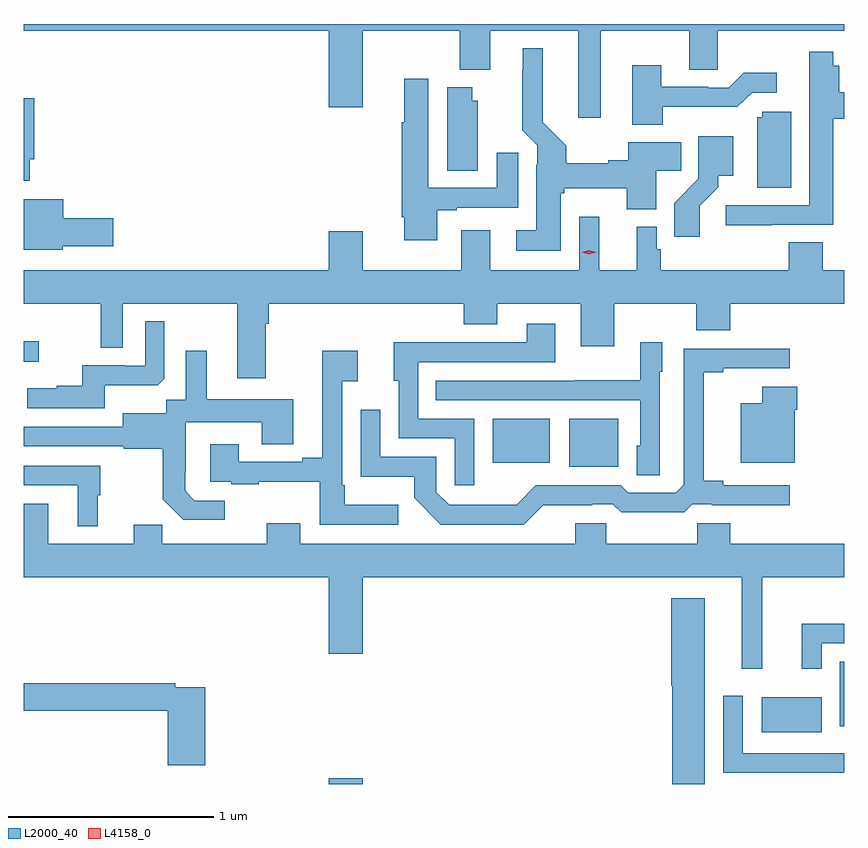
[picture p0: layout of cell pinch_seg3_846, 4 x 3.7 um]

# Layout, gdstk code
import gdstk
lib = gdstk.Library(unit=1e-6, precision=1e-09)
def R(c, l, rs):  # rectangles x0, y0, x1, y1
    for r in rs: c.add(gdstk.rectangle(r[:2], r[2:], *l))
def P(c, l, *ps):  # polygons
    for p in ps: c.add(gdstk.Polygon(p, *l))
L2000_40 = (2000, 40)
L4158_0 = (4158, 0)

pinch_seg3_846 = lib.new_cell('pinch_seg3_846')
R(pinch_seg3_846, L2000_40, [(728.444,745.196,728.608,745.225), (730.553,745.448,730.846,745.618), (730.934,745.478,730.956,745.792), (729.614,746.741,729.853,746.977), (729.242,746.762,729.52,746.977), (726.956,747.254,727.03,747.353)])
P(pinch_seg3_846, L2000_40, [(726.956,748.868),(728.444,748.868),(728.444,748.494),(728.608,748.494),(728.608,748.868),(729.082,748.868),(729.082,748.676),(729.229,748.676),(729.229,748.868),(729.659,748.868),(729.659,748.443),(729.769,748.443),(729.769,748.868),(730.199,748.868),(730.199,748.678),(730.338,748.678),(730.338,748.868),(730.956,748.868),(730.956,748.9),(726.956,748.9)],
  [(729.574,748.074),(729.592,748.074),(729.592,748.1),(729.895,748.1),(729.895,747.998),(730.039,747.998),(730.039,748.186),(730.16,748.186),(730.16,748.324),(729.902,748.324),(729.902,748.235),(729.806,748.235),(729.806,748.222),(729.6,748.222),(729.6,748.307),(729.487,748.42),(729.487,748.783),(729.389,748.783),(729.389,748.673),(729.385,748.673),(729.385,748.382),(729.459,748.308),(729.459,748.214),(729.455,748.214),(729.455,747.895),(729.357,747.895),(729.357,747.794),(729.574,747.794)],
  [(730.601,747.921),(730.901,747.921),(730.901,748.438),(730.956,748.438),(730.956,748.567),(730.931,748.567),(730.931,748.696),(730.901,748.696),(730.901,748.765),(730.785,748.765),(730.785,748.017),(730.377,748.017),(730.377,747.919),(730.601,747.919)],
  [(730.071,748.496),(730.435,748.496),(730.506,748.566),(730.627,748.566),(730.627,748.663),(730.465,748.663),(730.392,748.59),(730.292,748.59),(730.292,748.593),(730.063,748.593),(730.063,748.699),(729.923,748.699),(729.923,748.409),(730.071,748.409)],
  [(728.971,747.993),(729.067,747.993),(729.067,748.005),(729.367,748.005),(729.367,748.273),(729.263,748.273),(729.263,748.101),(728.929,748.101),(728.929,748.633),(728.81,748.633),(728.81,748.42),(728.798,748.42),(728.798,747.958),(728.81,747.958),(728.81,747.846),(728.971,747.846)],
  [(729.169,748.527),(729.142,748.527),(729.142,748.591),(729.02,748.591),(729.02,748.186),(729.169,748.186)],
  [(726.987,748.24),(727.007,748.24),(727.007,748.537),(726.956,748.537),(726.956,748.136),(726.987,748.136)],
  [(730.696,748.473),(730.557,748.473),(730.557,748.446),(730.532,748.446),(730.532,748.102),(730.696,748.102)],
  [(730.252,748.015),(730.342,748.105),(730.342,748.16),(730.414,748.16),(730.414,748.354),(730.245,748.354),(730.245,748.145),(730.126,748.026),(730.126,747.864),(730.252,747.864)],
  [(727.146,747.818),(727.393,747.818),(727.393,747.953),(727.15,747.953),(727.15,748.045),(726.956,748.045),(726.956,747.8),(727.146,747.8)],
  [(728.137,747.44),(728.15,747.44),(728.15,747.536),(729.101,747.536),(729.101,747.437),(729.265,747.437),(729.265,747.536),(729.671,747.536),(729.671,747.33),(729.835,747.33),(729.835,747.536),(730.235,747.536),(730.235,747.408),(730.399,747.408),(730.399,747.536),(730.956,747.536),(730.956,747.7),(730.85,747.7),(730.85,747.836),(730.685,747.836),(730.685,747.7),(730.061,747.7),(730.061,747.801),(730.041,747.801),(730.041,747.913),(729.944,747.913),(729.944,747.7),(729.761,747.7),(729.761,747.961),(729.663,747.961),(729.663,747.7),(729.229,747.7),(729.229,747.895),(729.089,747.895),(729.089,747.7),(728.608,747.7),(728.608,747.889),(728.444,747.889),(728.444,747.7),(726.956,747.7),(726.956,747.536),(727.332,747.536),(727.332,747.322),(727.44,747.322),(727.44,747.536),(727.997,747.536),(727.997,747.174),(728.137,747.174)],
  [(727.351,747.14),(727.609,747.14),(727.641,747.171),(727.641,747.451),(727.548,747.451),(727.548,747.234),(727.448,747.234),(727.448,747.237),(727.241,747.237),(727.241,747.136),(727.117,747.136),(727.117,747.124),(726.973,747.124),(726.973,747.027),(727.351,747.027)],
  [(729.153,746.976),(728.88,746.976),(728.88,747.252),(729.547,747.252),(729.547,747.439),(729.407,747.439),(729.407,747.348),(728.977,747.348),(728.977,747.35),(728.759,747.35),(728.759,747.162),(728.784,747.162),(728.784,746.88),(729.057,746.88),(729.057,746.652),(729.153,746.652)],
  [(730.056,747.204),(730.069,747.204),(730.069,747.349),(729.96,747.349),(729.96,747.163),(729.643,747.163),(729.643,747.162),(728.965,747.162),(728.965,747.066),(729.96,747.066),(729.96,746.844),(729.944,746.844),(729.944,746.701),(730.056,746.701)],
  [(729.488,746.555),(729.728,746.555),(729.728,746.559),(729.828,746.559),(729.868,746.52),(730.175,746.52),(730.215,746.559),(730.309,746.559),(730.309,746.555),(730.69,746.555),(730.69,746.652),(730.366,746.652),(730.366,746.675),(730.271,746.675),(730.271,747.202),(730.366,747.202),(730.366,747.222),(730.69,747.222),(730.69,747.318),(730.173,747.318),(730.173,746.655),(730.134,746.616),(729.903,746.616),(729.867,746.652),(729.453,746.652),(729.359,746.558),(729.254,746.558),(729.254,746.556),(729.03,746.556),(728.967,746.619),(728.967,746.79),(728.694,746.79),(728.694,747.019),(728.598,747.019),(728.598,746.693),(728.86,746.693),(728.86,746.591),(728.99,746.46),(729.393,746.46)],
  [(727.936,746.577),(727.791,746.577),(727.744,746.624),(727.744,746.719),(727.746,746.719),(727.746,746.96),(728.117,746.96),(728.117,746.851),(728.269,746.851),(728.269,747.07),(727.849,747.07),(727.849,747.307),(727.745,747.307),(727.745,747.068),(727.65,747.068),(727.65,747.004),(727.439,747.004),(727.439,746.937),(726.956,746.937),(726.956,746.841),(727.443,746.841),(727.443,746.829),(727.635,746.829),(727.635,746.583),(727.735,746.483),(727.936,746.483)],
  [(728.782,746.557),(728.521,746.557),(728.521,746.653),(728.508,746.653),(728.508,747.158),(728.584,747.158),(728.584,747.307),(728.411,747.307),(728.411,746.785),(728.315,746.785),(728.315,746.766),(728.005,746.766),(728.005,746.851),(727.865,746.851),(727.865,746.67),(727.969,746.67),(727.969,746.658),(728.101,746.658),(728.101,746.669),(728.4,746.669),(728.4,746.46),(728.782,746.46)],
  [(730.714,747.02),(730.727,747.02),(730.727,747.133),(730.556,747.133),(730.556,747.052),(730.451,747.052),(730.451,746.762),(730.714,746.762)],
  [(727.318,746.604),(727.33,746.604),(727.33,746.748),(726.956,746.748),(726.956,746.652),(727.22,746.652),(727.22,746.453),(727.318,746.453)],
  [(730.556,746.204),(730.956,746.204),(730.956,746.368),(730.4,746.368),(730.4,746.466),(730.24,746.466),(730.24,746.368),(729.795,746.368),(729.795,746.466),(729.644,746.466),(729.644,746.368),(728.305,746.368),(728.305,746.467),(728.141,746.467),(728.141,746.368),(727.631,746.368),(727.631,746.459),(727.493,746.459),(727.493,746.368),(727.075,746.368),(727.075,746.563),(726.956,746.563),(726.956,746.204),(728.444,746.204),(728.444,745.83),(728.608,745.83),(728.608,746.204),(730.457,746.204),(730.457,745.758),(730.556,745.758)],
  [(730.276,746.101),(730.112,746.101),(730.112,745.674),(730.118,745.674),(730.118,745.196),(730.276,745.196)],
  [(730.845,745.881),(730.956,745.881),(730.956,745.977),(730.748,745.977),(730.748,745.758),(730.845,745.758)],
  [(727.841,745.668),(727.694,745.668),(727.694,745.688),(726.956,745.688),(726.956,745.552),(727.658,745.552),(727.658,745.287),(727.841,745.287)],
  [(730.956,745.347),(730.461,745.347),(730.461,745.627),(730.365,745.627),(730.365,745.251),(730.69,745.251),(730.69,745.25),(730.956,745.25)])
P(pinch_seg3_846, L4158_0, [(729.71,747.778),(729.675,747.788),(729.675,747.788),(729.675,747.788),(729.711,747.798),(729.746,747.788),(729.746,747.787),(729.746,747.787)])

lib.write_gds('pinch_seg3_846.gds')
